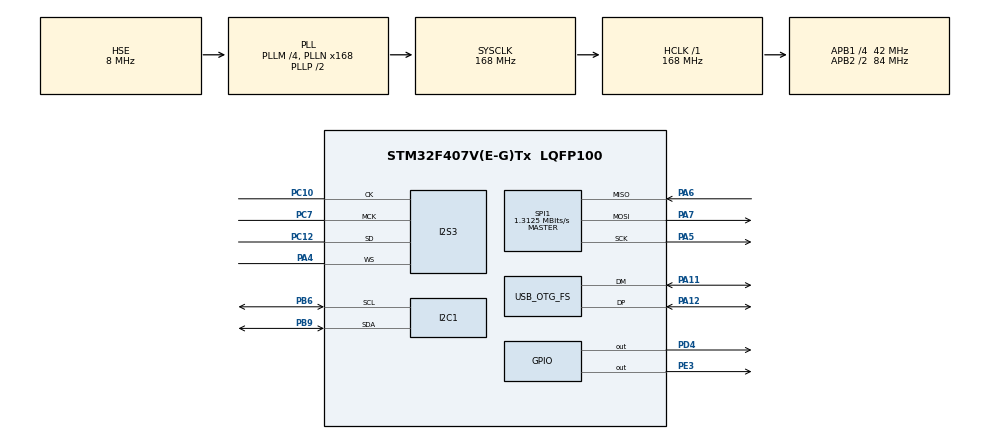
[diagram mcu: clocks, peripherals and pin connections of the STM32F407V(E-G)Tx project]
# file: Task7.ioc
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Dma.Request0=SPI3_TX
Dma.SPI3_TX.0.Direction=DMA_MEMORY_TO_PERIPH
Dma.SPI3_TX.0.FIFOMode=DMA_FIFOMODE_ENABLE
Dma.SPI3_TX.0.FIFOThreshold=DMA_FIFO_THRESHOLD_FULL
Dma.SPI3_TX.0.Instance=DMA1_Stream7
Dma.SPI3_TX.0.MemBurst=DMA_MBURST_SINGLE
Dma.SPI3_TX.0.MemDataAlignment=DMA_MDATAALIGN_HALFWORD
Dma.SPI3_TX.0.MemInc=DMA_MINC_ENABLE
Dma.SPI3_TX.0.Mode=DMA_CIRCULAR
Dma.SPI3_TX.0.PeriphBurst=DMA_PBURST_SINGLE
Dma.SPI3_TX.0.PeriphDataAlignment=DMA_PDATAALIGN_BYTE
Dma.SPI3_TX.0.PeriphInc=DMA_PINC_DISABLE
Dma.SPI3_TX.0.Priority=DMA_PRIORITY_LOW
I2S3.AudioFreq=I2S_AUDIOFREQ_48K
I2S3.ErrorAudioFreq=1.72 %
I2S3.FullDuplexMode=I2S_FULLDUPLEXMODE_DISABLE
I2S3.Instance=SPI$Index
I2S3.RealAudioFreq=48.828 KHz
I2S3.VirtualMode=I2S_MODE_MASTER
Mcu.Family=STM32F4
Mcu.Name=STM32F407V(E-G)Tx
Mcu.Package=LQFP100
NVIC.DMA1_Stream7_IRQn=true\:0\:0\:false\:false\:true\:false\:true\:true
NVIC.OTG_FS_IRQn=true\:0\:0\:false\:false\:true\:false\:true\:true
NVIC.PriorityGroup=NVIC_PRIORITYGROUP_4
PA11.Mode=Device_Only
PA11.Signal=USB_OTG_FS_DM
PA12.Mode=Device_Only
PA12.Signal=USB_OTG_FS_DP
PA4.Mode=Half_Duplex_Master
PA4.Signal=I2S3_WS
PA5.Mode=Full_Duplex_Master
PA5.Signal=SPI1_SCK
PA6.Mode=Full_Duplex_Master
PA6.Signal=SPI1_MISO
PA7.Mode=Full_Duplex_Master
PA7.Signal=SPI1_MOSI
PB6.Mode=I2C
PB6.Signal=I2C1_SCL
PB9.Mode=I2C
PB9.Signal=I2C1_SDA
PC10.Mode=Half_Duplex_Master
PC10.Signal=I2S3_CK
PC12.Mode=Half_Duplex_Master
PC12.Signal=I2S3_SD
PC7.Mode=Master_Clock_Activated
PC7.Signal=I2S3_MCK
PD4.Signal=GPIO_Output
PE3.Signal=GPIO_Output
PH0-OSC_IN.Mode=HSE-External-Oscillator
PH0-OSC_IN.Signal=RCC_OSC_IN
PH1-OSC_OUT.Mode=HSE-External-Oscillator
PH1-OSC_OUT.Signal=RCC_OSC_OUT
ProjectManager.HeapSize=0x200
ProjectManager.StackSize=0x400
ProjectManager.TargetToolchain=STM32CubeIDE
RCC.48MHZClocksFreq_Value=48000000
RCC.AHBFreq_Value=168000000
RCC.APB1CLKDivider=RCC_HCLK_DIV4
RCC.APB1Freq_Value=42000000
RCC.APB1TimFreq_Value=84000000
RCC.APB2CLKDivider=RCC_HCLK_DIV2
RCC.APB2Freq_Value=84000000
RCC.APB2TimFreq_Value=168000000
RCC.CortexFreq_Value=168000000
RCC.HCLKFreq_Value=168000000
RCC.HSE_VALUE=8000000
RCC.HSI_VALUE=16000000
RCC.LSE_VALUE=32768
RCC.PLLI2SN=50
RCC.PLLM=4
RCC.PLLN=168
RCC.PLLQ=7
RCC.SYSCLKFreq_VALUE=168000000
RCC.SYSCLKSource=RCC_SYSCLKSOURCE_PLLCLK
RCC.VCOOutputFreq_Value=336000000
SPI1.BaudRatePrescaler=SPI_BAUDRATEPRESCALER_64
SPI1.CalculateBaudRate=1.3125 MBits/s
SPI1.Direction=SPI_DIRECTION_2LINES
SPI1.Mode=SPI_MODE_MASTER
SPI1.VirtualType=VM_MASTER
USB_DEVICE.CLASS_NAME_FS=CDC
USB_DEVICE.VirtualMode-CDC_FS=Cdc
USB_DEVICE.VirtualModeFS=Cdc_FS
USB_OTG_FS.VirtualMode=Device_Only
VP_USB_DEVICE_VS_USB_DEVICE_CDC_FS.Mode=CDC_FS
board=custom

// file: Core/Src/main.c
/* USER CODE BEGIN Header */
/**
  ******************************************************************************
  * @file           : main.c
  * @brief          : Main program body
  ******************************************************************************
  * @attention
  *
  * Copyright (c) 2024 STMicroelectronics.
  * All rights reserved.
  *
  * This software is licensed under terms that can be found in the LICENSE file
  * in the root directory of this software component.
  * If no LICENSE file comes with this software, it is provided AS-IS.
  *
  ******************************************************************************
  */
/* USER CODE END Header */
#include "main.h"
#include "usb_device.h"

/* USER CODE BEGIN Includes */
#include "math.h"
#include "MY_CS43L22.h"
#include "lis3dsh_task5.h"
/* USER CODE END Includes */

I2C_HandleTypeDef hi2c1;

I2S_HandleTypeDef hi2s3;
DMA_HandleTypeDef hdma_spi3_tx;

SPI_HandleTypeDef hspi1;

void SystemClock_Config(void);
static void MX_GPIO_Init(void);
static void MX_DMA_Init(void);
static void MX_I2S3_Init(void);
static void MX_I2C1_Init(void);
static void MX_SPI1_Init(void);

int main(void)
{

  /* MCU Configuration--------------------------------------------------------*/

  /* Reset of all peripherals, Initializes the Flash interface and the Systick. */
  HAL_Init();

  /* Configure the system clock */
  SystemClock_Config();

  /* Initialize all configured peripherals */
  MX_GPIO_Init();
  MX_DMA_Init();
  MX_USB_DEVICE_Init();
  MX_I2S3_Init();
  MX_I2C1_Init();
  MX_SPI1_Init();
  /* USER CODE BEGIN 2 */

  // Initiate and start the Audio DAC.
  CS43_Init(hi2c1, MODE_I2S);
  CS43_Enable_RightLeft(CS43_RIGHT_LEFT);
  CS43_SetVolume(40);
  CS43_Start();

  // Play a constant note through the DAC.
  double duration = 5; // 1 second
  double frequency_hz = 20;
  double amplitude = 100.0;
  int sample_frequency = 4000; // Normal sampling frequency is 44.1 kHz or 48 kHz.
  size_t sample_N = (size_t)sample_frequency*duration;
  int16_t sinus_value[sample_N];
  sinus_wave_generator(duration, sample_frequency, amplitude, frequency_hz,  sinus_value, sample_N);

  // Transmit it through to the DAC with DMA.
  HAL_I2S_Transmit_DMA(&hi2s3, (uint16_t *) sinus_value, sample_N);

  // Play note which is larger the large the acceleration on x and y axis.

  // Initiate Accelerometer.
  lis3dsh_config parameters;
  parameters.ctrl_reg4_config = CTRL_REG4_ODR0 | CTRL_REG4_Xen | CTRL_REG4_Yen;
  parameters.ctrl_reg3_config = CTRL_REG3_INT1_EN | CTRL_REG3_DR_EN;
  lis3dsh_init(&hspi1, &parameters);

  /* USER CODE END 2 */

  /* Infinite loop */
  /* USER CODE BEGIN WHILE */
  while (1)
  {

	  // Extract acceleration
	  uint8_t buffer_rx[2];
	  lis3dsh_read(LIS3DSH_OUT_X_H_ADDR, buffer_rx, 1);
	  uint8_t x_val_h = (buffer_rx[0]);

	  lis3dsh_read(LIS3DSH_OUT_X_L_ADDR, buffer_rx, 1);
	  uint8_t x_val_l = (buffer_rx[0]);

	  uint16_t acc_x = (x_val_h << 8) | x_val_l;

	  // Compute acceleration in m/s^2 from raw data.
	  double acc_x_in_g = 0;
	  if ((acc_x & 0x8000) == 0x8000 ){
		  // Acceleration is negative.  First compute the two's complement.
		  uint16_t acc_x_twos_complement = (~acc_x) + 1;
		  // Use conversion and set to negative
		  acc_x_in_g = -((double)acc_x_twos_complement*0.0006);
	  } else{
		  // Acceleration is positive. Using simple conversion model to compute the acceleration in gravitational forces also noted m/s^2.
		  acc_x_in_g = (double)acc_x*0.0006;
	  }

	  // Convert acceleration to frequency.
	  int frequency_hz = 0;
	  if (acc_x_in_g<0.5 && acc_x_in_g>-0.5){
		  frequency_hz = 0;
	  } else{
		  int min_frequency = 0;
		  int max_frequency = 800;

		  // Map acceleration range to frequency range
		  int min_acceleration = -10;
		  int max_acceleration = 10;

		  // Calculate the ratio of acceleration to the total range
		  double ratio = (acc_x_in_g - min_acceleration) / (max_acceleration - min_acceleration);

		  // Map the ratio to the frequency range
		  frequency_hz = (int)min_frequency + ratio * (max_frequency - min_frequency);
	  }

	  // Update the signal which is continously being sent to the DAC. Remove this line if you want to hear a constant sound.
	  sinus_wave_generator(duration, sample_frequency, amplitude, frequency_hz,  sinus_value, sample_N);

	  HAL_Delay(1000);
	  /* USER CODE END WHILE */

  }
}

void SystemClock_Config(void)
{
  RCC_OscInitTypeDef RCC_OscInitStruct = {0};
  RCC_ClkInitTypeDef RCC_ClkInitStruct = {0};

  /** Configure the main internal regulator output voltage
  */
  __HAL_RCC_PWR_CLK_ENABLE();
  __HAL_PWR_VOLTAGESCALING_CONFIG(PWR_REGULATOR_VOLTAGE_SCALE1);

  /** Initializes the RCC Oscillators according to the specified parameters
  * in the RCC_OscInitTypeDef structure.
  */
  RCC_OscInitStruct.OscillatorType = RCC_OSCILLATORTYPE_HSE;
  RCC_OscInitStruct.HSEState = RCC_HSE_ON;
  RCC_OscInitStruct.PLL.PLLState = RCC_PLL_ON;
  RCC_OscInitStruct.PLL.PLLSource = RCC_PLLSOURCE_HSE;
  RCC_OscInitStruct.PLL.PLLM = 4;
  RCC_OscInitStruct.PLL.PLLN = 168;
  RCC_OscInitStruct.PLL.PLLP = RCC_PLLP_DIV2;
  RCC_OscInitStruct.PLL.PLLQ = 7;
  if (HAL_RCC_OscConfig(&RCC_OscInitStruct) != HAL_OK)
  {
    Error_Handler();
  }

  /** Initializes the CPU, AHB and APB buses clocks
  */
  RCC_ClkInitStruct.ClockType = RCC_CLOCKTYPE_HCLK|RCC_CLOCKTYPE_SYSCLK
                              |RCC_CLOCKTYPE_PCLK1|RCC_CLOCKTYPE_PCLK2;
  RCC_ClkInitStruct.SYSCLKSource = RCC_SYSCLKSOURCE_PLLCLK;
  RCC_ClkInitStruct.AHBCLKDivider = RCC_SYSCLK_DIV1;
  RCC_ClkInitStruct.APB1CLKDivider = RCC_HCLK_DIV4;
  RCC_ClkInitStruct.APB2CLKDivider = RCC_HCLK_DIV2;

  if (HAL_RCC_ClockConfig(&RCC_ClkInitStruct, FLASH_LATENCY_5) != HAL_OK)
  {
    Error_Handler();
  }
}

static void MX_I2C1_Init(void)
{

  hi2c1.Instance = I2C1;
  hi2c1.Init.ClockSpeed = 100000;
  hi2c1.Init.DutyCycle = I2C_DUTYCYCLE_2;
  hi2c1.Init.OwnAddress1 = 0;
  hi2c1.Init.AddressingMode = I2C_ADDRESSINGMODE_7BIT;
  hi2c1.Init.DualAddressMode = I2C_DUALADDRESS_DISABLE;
  hi2c1.Init.OwnAddress2 = 0;
  hi2c1.Init.GeneralCallMode = I2C_GENERALCALL_DISABLE;
  hi2c1.Init.NoStretchMode = I2C_NOSTRETCH_DISABLE;
  if (HAL_I2C_Init(&hi2c1) != HAL_OK)
  {
    Error_Handler();
  }

}

static void MX_I2S3_Init(void)
{

  hi2s3.Instance = SPI3;
  hi2s3.Init.Mode = I2S_MODE_MASTER_TX;
  hi2s3.Init.Standard = I2S_STANDARD_PHILIPS;
  hi2s3.Init.DataFormat = I2S_DATAFORMAT_16B;
  hi2s3.Init.MCLKOutput = I2S_MCLKOUTPUT_ENABLE;
  hi2s3.Init.AudioFreq = I2S_AUDIOFREQ_48K;
  hi2s3.Init.CPOL = I2S_CPOL_LOW;
  hi2s3.Init.ClockSource = I2S_CLOCK_PLL;
  hi2s3.Init.FullDuplexMode = I2S_FULLDUPLEXMODE_DISABLE;
  if (HAL_I2S_Init(&hi2s3) != HAL_OK)
  {
    Error_Handler();
  }

}

static void MX_SPI1_Init(void)
{

  /* SPI1 parameter configuration*/
  hspi1.Instance = SPI1;
  hspi1.Init.Mode = SPI_MODE_MASTER;
  hspi1.Init.Direction = SPI_DIRECTION_2LINES;
  hspi1.Init.DataSize = SPI_DATASIZE_8BIT;
  hspi1.Init.CLKPolarity = SPI_POLARITY_LOW;
  hspi1.Init.CLKPhase = SPI_PHASE_1EDGE;
  hspi1.Init.NSS = SPI_NSS_SOFT;
  hspi1.Init.BaudRatePrescaler = SPI_BAUDRATEPRESCALER_64;
  hspi1.Init.FirstBit = SPI_FIRSTBIT_MSB;
  hspi1.Init.TIMode = SPI_TIMODE_DISABLE;
  hspi1.Init.CRCCalculation = SPI_CRCCALCULATION_DISABLE;
  hspi1.Init.CRCPolynomial = 10;
  if (HAL_SPI_Init(&hspi1) != HAL_OK)
  {
    Error_Handler();
  }

}

static void MX_DMA_Init(void)
{

  /* DMA controller clock enable */
  __HAL_RCC_DMA1_CLK_ENABLE();

  /* DMA interrupt init */
  /* DMA1_Stream7_IRQn interrupt configuration */
  HAL_NVIC_SetPriority(DMA1_Stream7_IRQn, 0, 0);
  HAL_NVIC_EnableIRQ(DMA1_Stream7_IRQn);

}

static void MX_GPIO_Init(void)
{
  GPIO_InitTypeDef GPIO_InitStruct = {0};

  /* GPIO Ports Clock Enable */
  __HAL_RCC_GPIOE_CLK_ENABLE();
  __HAL_RCC_GPIOH_CLK_ENABLE();
  __HAL_RCC_GPIOA_CLK_ENABLE();
  __HAL_RCC_GPIOC_CLK_ENABLE();
  __HAL_RCC_GPIOD_CLK_ENABLE();
  __HAL_RCC_GPIOB_CLK_ENABLE();

  /*Configure GPIO pin Output Level */
  HAL_GPIO_WritePin(GPIOE, GPIO_PIN_3, GPIO_PIN_RESET);

  /*Configure GPIO pin Output Level */
  HAL_GPIO_WritePin(GPIOD, GPIO_PIN_4, GPIO_PIN_RESET);

  /*Configure GPIO pin : PE3 */
  GPIO_InitStruct.Pin = GPIO_PIN_3;
  GPIO_InitStruct.Mode = GPIO_MODE_OUTPUT_PP;
  GPIO_InitStruct.Pull = GPIO_NOPULL;
  GPIO_InitStruct.Speed = GPIO_SPEED_FREQ_LOW;
  HAL_GPIO_Init(GPIOE, &GPIO_InitStruct);

  /*Configure GPIO pin : PD4 */
  GPIO_InitStruct.Pin = GPIO_PIN_4;
  GPIO_InitStruct.Mode = GPIO_MODE_OUTPUT_PP;
  GPIO_InitStruct.Pull = GPIO_NOPULL;
  GPIO_InitStruct.Speed = GPIO_SPEED_FREQ_LOW;
  HAL_GPIO_Init(GPIOD, &GPIO_InitStruct);

}

/* USER CODE BEGIN 4 */
void sinus_wave_generator(double duration, double sample_rate, double amplitude, double frequency, int16_t sinus_value[], size_t size){
    /* Generation of sinusoid

    Args:
        duration (double): Duration of signal (in seconds)
        sample_rate (scalar): Sampling rate
        amplitude (float): Amplitude of sinusoid
        frequency (float): Frequency of sinusoid
        phase (float): Phase of sinusoid (Default value = 0)
        sinus_value (array) : Array to store the discrete sinus signal.
        size (size_t) : Size of the array.
    */

	int sample_N = (int)sample_rate*duration; // Samples per period.

	for(int i = 0; i < sample_N ; i++){
		double timestep =  (double)i / sample_rate;
		double temp = (amplitude*sin(2.0 * M_PI * frequency * timestep));
		sinus_value[i] = (int16_t)(temp);
	}
}

/* USER CODE END 4 */

void Error_Handler(void)
{
  __disable_irq();
  while (1)
  {
  }
}
